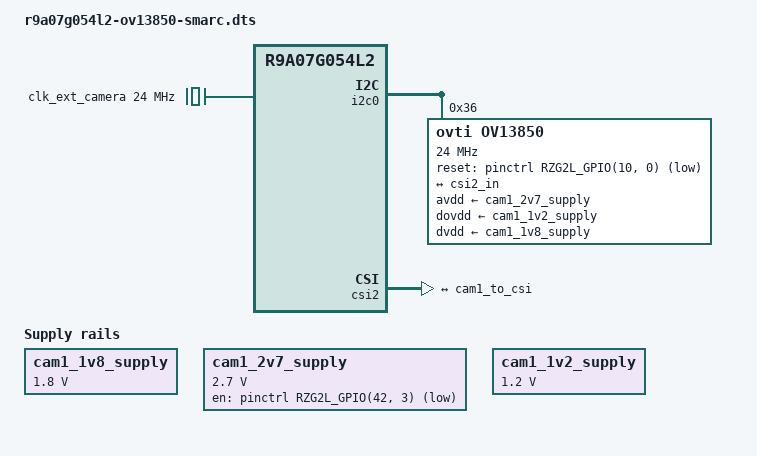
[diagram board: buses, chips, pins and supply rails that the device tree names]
// SPDX-License-Identifier: (GPL-2.0-only OR BSD-2-Clause)
/*
 * Device Tree Source for the RZ/G2L SMARC EVK board
 *
 * Copyright (C) 2021 Renesas Electronics Corp.
 */

/dts-v1/;
#include "r9a07g054l2-mxt-smarc.dts"

&clk_ext_camera {
	compatible = "fixed-clock";
	#clock-cells = <0>;
	clock-frequency = <24000000>;
};

/ {
	cam1_1v8_supply: 1p8v {
		compatible = "regulator-fixed";
		regulator-name = "cam1_1v8_supply";
		regulator-min-microvolt = <1800000>;
		regulator-max-microvolt = <1800000>;
		regulator-always-on;
	};

	cam1_2v7_supply: 2p7v {
		compatible = "regulator-fixed";
		regulator-name = "cam1_2v7_supply";
		regulator-min-microvolt = <2700000>;
		regulator-max-microvolt = <2700000>;
		gpios = <&pinctrl RZG2L_GPIO(42, 3) 0>;
		startup-delay-us = <300000>;
	};

	cam1_1v2_supply: 1p2v {
		compatible = "regulator-fixed";
		regulator-name = "cam1_1v2_supply";
		regulator-min-microvolt = <1200000>;
		regulator-max-microvolt = <1200000>;
		regulator-always-on;
	};
};

&i2c0 {
	pinctrl-0 = <&i2c0_pins>;
	pinctrl-names = "default";

	status = "okay";

	ov13850: ov13850@36 {
		compatible = "ovti,ov13850";
		reg = <0x36>;
		clock-names = "xvclk";
		clocks = <&clk_ext_camera>;
		clock-frequency = <24000000>;
		reset-gpios = <&pinctrl RZG2L_GPIO(10, 0) GPIO_ACTIVE_LOW>;
		avdd-supply = <&cam1_2v7_supply>;
		dovdd-supply = <&cam1_1v2_supply>;
		dvdd-supply = <&cam1_1v8_supply>;

		port {
			cam1_to_csi: endpoint {
				clock-lanes = <0>;
				data-lanes = <1 2>;
				remote-endpoint = <&csi2_in>;
			};
		};
	};

       /delete-node/ camera@3c;
};

&csi2 {
	status = "okay";

	ports {
		port {
			csi2_in: endpoint {
				clock-lanes = <0>;
				data-lanes = <1 2>;
				remote-endpoint = <&cam1_to_csi>;
			};
		};
	};
};
